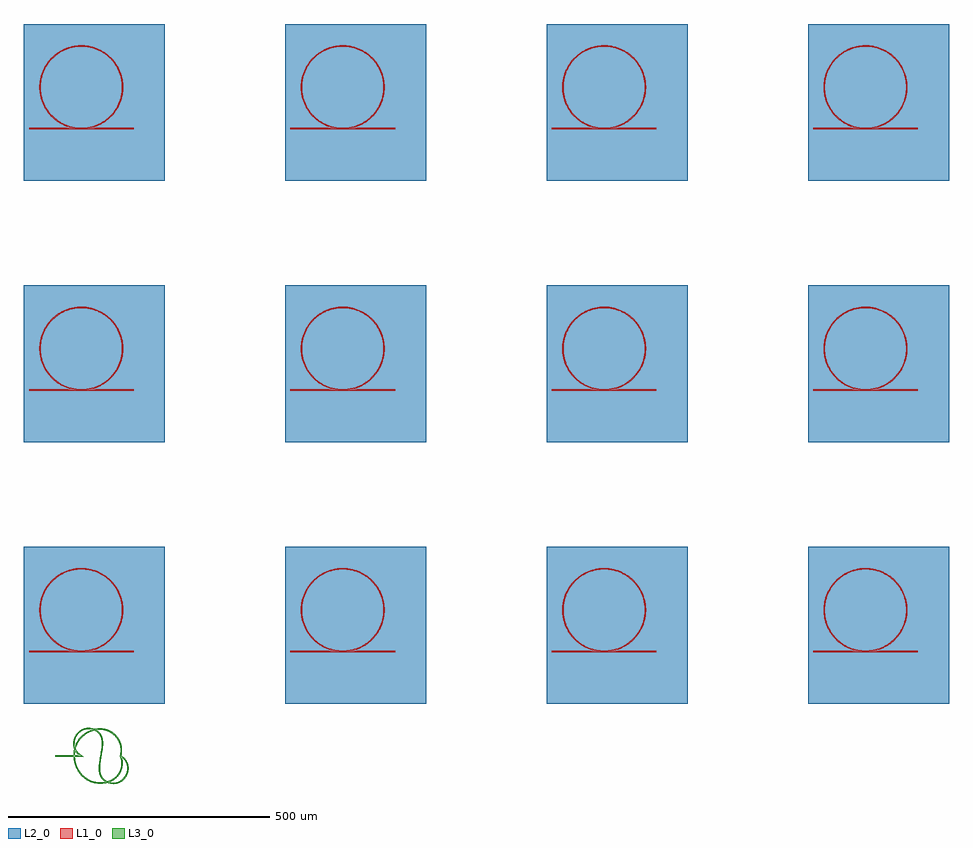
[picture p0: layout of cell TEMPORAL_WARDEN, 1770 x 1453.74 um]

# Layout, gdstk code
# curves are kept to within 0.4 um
import gdstk
lib = gdstk.Library(unit=1e-6, precision=1e-09)
def R(c, l, rs):  # rectangles x0, y0, x1, y1
    for r in rs: c.add(gdstk.rectangle(r[:2], r[2:], *l))
def A(c, l, x, y, w, h, nx, ny, dx, dy):  # array of equal rectangles
    R(c, l, [(x+i*dx, y+j*dy, x+i*dx+w, y+j*dy+h) for i in range(nx) for j in range(ny)])
def P(c, l, *ps):  # polygons
    for p in ps: c.add(gdstk.Polygon(p, *l))
L1_0 = (1, 0)
L2_0 = (2, 0)
L3_0 = (3, 0)

halo_resonator = lib.new_cell('HALO_RESONATOR')
P(halo_resonator, L1_0, [(51.899,-1.128),(59.474,-0.588),(66.963,0.665),(74.301,2.62),(81.421,5.261),(88.259,8.564),(96.833,13.944),(102.78,18.666),(108.255,23.928),(113.207,29.685),(117.593,35.884),(121.372,42.471),(124.512,49.385),(126.984,56.566),(128.765,63.947),(129.84,71.465),(130.2,79.05),(127.7,79.05),(127.341,71.589),(125.752,61.76),(123.742,54.566),(121.05,47.598),(115.119,36.662),(110.748,30.605),(105.816,24.995),(96.473,16.78),(90.279,12.605),(83.713,9.045),(74.484,5.308),(67.29,3.298),(57.461,1.709),(50,1.35),(50,-1.143)],
  [(50,-1.143),(50,1.35),(42.539,1.709),(32.71,3.298),(25.516,5.308),(16.287,9.045),(9.721,12.605),(3.527,16.78),(-5.816,24.995),(-10.748,30.605),(-15.119,36.662),(-21.05,47.598),(-23.742,54.566),(-25.752,61.76),(-27.341,71.589),(-27.7,79.05),(-30.19,79.05),(-29.711,70.205),(-28.517,62.706),(-26.619,55.353),(-24.034,48.213),(-20.786,41.349),(-16.903,34.823),(-12.42,28.693),(-7.377,23.015),(-1.82,17.84),(6.302,11.8),(12.859,7.969),(19.748,4.774),(26.909,2.246),(34.276,0.406),(41.785,-0.728)],
  [(-27.66,81.54),(-27.062,88.986),(-25.752,96.34),(-23.742,103.534),(-21.05,110.502),(-15.119,121.438),(-10.748,127.495),(-5.816,133.105),(3.527,141.32),(9.721,145.495),(16.287,149.055),(25.516,152.792),(32.71,154.802),(42.539,156.391),(50,156.75),(50,159.243),(41.785,158.828),(34.276,157.694),(26.909,155.854),(19.748,153.326),(12.859,150.131),(6.302,146.3),(-1.82,140.26),(-7.377,135.085),(-13.979,127.411),(-18.266,121.143),(-21.941,114.498),(-24.971,107.535),(-27.962,97.865),(-29.711,87.895),(-30.19,79.05),(-27.7,79.05)],
  [(130.16,81.582),(129.561,89.152),(128.249,96.632),(126.236,103.954),(123.538,111.052),(120.182,117.864),(116.196,124.328),(111.617,130.386),(106.486,135.983),(100.848,141.071),(94.754,145.602),(88.259,149.536),(81.421,152.839),(74.301,155.48),(66.963,157.435),(59.474,158.688),(50,159.243),(50,156.75),(57.461,156.391),(67.29,154.802),(74.484,152.792),(81.452,150.1),(92.388,144.169),(98.445,139.798),(104.055,134.866),(112.27,125.523),(116.445,119.329),(120.005,112.763),(123.742,103.534),(125.752,96.34),(127.341,86.511),(127.7,79.05),(130.2,79.05)],
  [(0,-1.25),(50,-1.25),(100,-1.25),(150,-1.25),(150,1.25),(100,1.25),(50,1.25),(0,1.25),(-50,1.25),(-50,-1.25)])

gauntlet_12_node = lib.new_cell('GAUNTLET_12_NODE')
A(gauntlet_12_node, L2_0, -60, -100, 270, 300, 4, 3, 500, 500)
gauntlet_12_node.add(gdstk.Reference(halo_resonator, (0,0)))
gauntlet_12_node.add(gdstk.Reference(halo_resonator, (500,0)))
gauntlet_12_node.add(gdstk.Reference(halo_resonator, (1000,0)))
gauntlet_12_node.add(gdstk.Reference(halo_resonator, (1500,0)))
gauntlet_12_node.add(gdstk.Reference(halo_resonator, (0,500)))
gauntlet_12_node.add(gdstk.Reference(halo_resonator, (500,500)))
gauntlet_12_node.add(gdstk.Reference(halo_resonator, (1000,500)))
gauntlet_12_node.add(gdstk.Reference(halo_resonator, (1500,500)))
gauntlet_12_node.add(gdstk.Reference(halo_resonator, (0,1000)))
gauntlet_12_node.add(gdstk.Reference(halo_resonator, (500,1000)))
gauntlet_12_node.add(gdstk.Reference(halo_resonator, (1000,1000)))
gauntlet_12_node.add(gdstk.Reference(halo_resonator, (1500,1000)))

temporal_warden = lib.new_cell('TEMPORAL_WARDEN')
P(temporal_warden, L3_0, [(37.59,-197.461),(38.255,-190.251),(39.787,-192.598),(39.787,-187.844),(39.065,-186.291),(39.787,-183.67),(39.787,-176.686),(37.697,-181.999),(37.108,-176.368),(37.805,-170.42),(39.787,-164.631),(39.787,-159.499),(36.649,-165.638),(35.481,-169.382),(34.793,-173.244),(34.793,-179.79),(36.445,-186.488),(35.419,-192.521),(35.077,-198.75),(0,-198.75),(0,-201.25),(35.135,-201.25),(35.705,-207.172),(36.626,-211.987),(39.787,-221.617),(39.787,-214.18),(38.362,-207.964),(37.638,-201.25),(39.787,-201.25),(39.787,-198.75),(37.577,-198.75)],
  [(40.267,-163.639),(42.797,-159.537),(45.114,-156.773),(47.758,-154.336),(50.998,-152.109),(50.998,-149.252),(45.563,-152.909),(41.081,-157.658),(39.787,-159.499),(39.787,-164.631)],
  [(40.143,-182.558),(42.335,-177.133),(44.591,-172.985),(47.304,-169.045),(50.998,-164.824),(50.998,-161.358),(45.323,-167.52),(42.459,-171.678),(40.63,-174.941),(39.787,-176.686),(39.787,-183.67)],
  [(50.998,-199.134),(47.826,-197.091),(44.551,-194.316),(41.917,-191.286),(39.787,-187.844),(39.787,-192.598),(42.394,-195.691),(45.864,-198.75),(39.787,-198.75),(39.787,-201.25),(50.998,-201.25)],
  [(50.998,-234.86),(47.588,-230.537),(44.5,-225.594),(41.955,-220.331),(39.787,-214.18),(39.787,-221.617),(42.311,-226.801),(46.257,-232.966),(50.998,-238.536)],
  [(51.353,-164.462),(56.156,-160.32),(60.557,-157.368),(65.467,-154.774),(71.576,-152.349),(71.576,-147.462),(67.168,-146.524),(61.379,-146.331),(55.963,-147.284),(50.998,-149.252),(50.998,-152.109),(56.204,-149.82),(61.076,-148.864),(66.318,-148.936),(71.001,-149.905),(61.779,-153.814),(54.654,-158.322),(50.998,-161.358),(50.998,-164.824)],
  [(51.79,-199.597),(50.998,-199.134),(50.998,-201.25),(54.628,-201.25)],
  [(71.576,-248.426),(66.031,-246.256),(60.88,-243.401),(55.31,-239.185),(50.998,-234.86),(50.998,-238.536),(55.532,-242.634),(59.527,-245.504),(64.965,-248.518),(71.576,-251.037)],
  [(87.165,-158.196),(83.487,-153.859),(78.728,-150.438),(87.165,-149.811),(87.165,-147.305),(81.039,-147.563),(75.085,-148.687),(71.576,-147.462),(71.576,-152.349),(74.908,-151.325),(79.939,-154.18),(82.36,-156.237),(84.344,-158.515),(87.165,-163.702)],
  [(87.165,-234.27),(86.213,-229.522),(85.889,-224.528),(86.198,-217.405),(87.165,-209.675),(87.165,-194.552),(84.119,-213.381),(83.389,-224.559),(83.984,-231.53),(85.499,-237.187),(87.165,-240.71)],
  [(86.843,-253.059),(87.165,-253.049),(87.165,-250.548),(78.91,-250.09),(71.576,-248.426),(71.576,-251.037),(78.559,-252.565)],
  [(101.938,-150.558),(94.987,-148.309),(87.165,-147.305),(87.165,-149.811),(94.553,-150.778),(101.938,-153.292)],
  [(87.417,-207.98),(90.881,-186.619),(91.611,-175.441),(91.268,-170.167),(90.495,-165.988),(89.196,-162.046),(87.165,-158.196),(87.165,-163.702),(88.553,-168.893),(89.111,-175.472),(88.618,-184.442),(87.165,-194.552),(87.165,-209.675)],
  [(88.279,-253.012),(94.175,-252.436),(99.906,-251.307),(101.938,-252.064),(101.938,-248.148),(100.103,-248.68),(96.449,-246.762),(93.202,-244.298),(91.114,-242.075),(89.43,-239.638),(87.165,-234.27),(87.275,-240.905),(90.883,-245.541),(93.584,-247.837),(96.243,-249.545),(87.165,-250.548),(87.165,-253.049)],
  [(119.465,-164.373),(115.719,-159.983),(111.776,-156.419),(107.412,-153.367),(101.938,-150.558),(101.938,-153.292),(107.273,-156.242),(111.748,-159.662),(116.104,-164.147),(119.465,-168.843)],
  [(113.001,-253.706),(119.465,-252.584),(119.465,-249.957),(115.403,-250.955),(111.584,-251.238),(107.568,-250.91),(103.988,-250.092),(111.004,-246.735),(116.706,-242.447),(119.465,-239.654),(119.465,-235.714),(115.71,-239.955),(111.306,-243.556),(107.16,-246.018),(101.938,-248.148),(101.938,-252.064),(107.176,-253.379)],
  [(126.493,-199.44),(126.493,-179.205),(125.182,-174.928),(123.608,-171.216),(121.695,-167.69),(119.465,-164.373),(119.465,-168.843),(121.49,-172.592),(123.153,-176.694),(124.205,-180.373),(124.97,-184.827),(125.21,-188.761),(125.041,-192.783),(124.577,-196.188),(123.543,-200.598),(123.999,-200.864),(125.206,-204.284),(126.493,-210.919)],
  [(119.535,-239.577),(123.677,-233.935),(126.493,-228.226),(126.493,-217.657),(125.733,-222.296),(124.378,-226.771),(122.456,-231.021),(119.465,-235.714)],
  [(119.761,-252.498),(123.475,-251.013),(126.493,-249.288),(126.493,-246.245),(123.445,-248.213),(119.465,-249.957),(119.465,-252.584)],
  [(126.556,-198.928),(127.421,-194.091),(127.716,-189.306),(127.419,-184.198),(126.493,-179.205)],
  [(126.894,-249.03),(131.86,-244.778),(134.356,-241.754),(136.459,-238.442),(138.141,-234.898),(139.377,-231.175),(140.137,-227.328),(140.393,-223.41),(140.113,-219.477),(139.268,-215.587),(136.524,-209.362),(134.034,-205.885),(132.009,-203.713),(126.493,-199.44),(126.493,-228.226),(128.383,-221.882),(129.122,-215.874),(128.88,-209.735),(127.467,-203.136),(132.12,-207.493),(135.006,-211.75),(137.185,-217.464),(137.893,-223.414),(137.243,-229.367),(135.349,-235.076),(131.605,-241.246),(129.196,-243.926),(126.493,-246.245),(126.493,-249.288)])
temporal_warden.add(gdstk.Reference(gauntlet_12_node, (0,0)))

lib.write_gds('TEMPORAL_WARDEN.gds')
